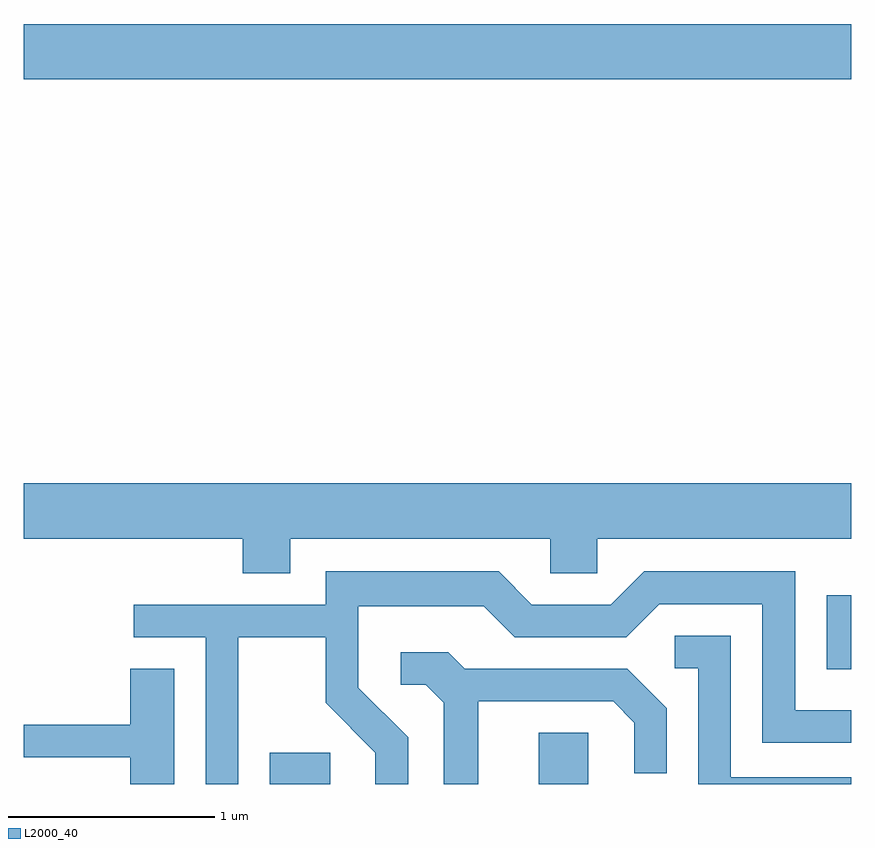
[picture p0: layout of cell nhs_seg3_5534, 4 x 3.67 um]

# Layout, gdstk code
import gdstk
lib = gdstk.Library(unit=1e-6, precision=1e-09)
def R(c, l, rs):  # rectangles x0, y0, x1, y1
    for r in rs: c.add(gdstk.rectangle(r[:2], r[2:], *l))
def P(c, l, *ps):  # polygons
    for p in ps: c.add(gdstk.Polygon(p, *l))
L2000_40 = (2000, 40)

nhs_seg3_5534 = lib.new_cell('nhs_seg3_5534')
R(nhs_seg3_5534, L2000_40, [(348.801,1175.892,349.094,1176.044), (350.101,1175.892,350.339,1176.139), (351.491,1176.446,351.611,1176.803), (347.611,1179.296,351.611,1179.564)])
P(nhs_seg3_5534, L2000_40, [(348.899,1177.076),(350.156,1177.076),(350.156,1176.911),(350.384,1176.911),(350.384,1177.076),(351.611,1177.076),(351.611,1177.344),(347.611,1177.344),(347.611,1177.076),(348.671,1177.076),(348.671,1176.911),(348.899,1176.911)],
  [(348.649,1176.601),(349.071,1176.601),(349.071,1176.284),(349.311,1176.044),(349.311,1175.892),(349.469,1175.892),(349.469,1176.117),(349.229,1176.357),(349.229,1176.751),(349.834,1176.751),(349.984,1176.601),(350.522,1176.601),(350.682,1176.761),(351.181,1176.761),(351.181,1176.091),(351.611,1176.091),(351.611,1176.249),(351.339,1176.249),(351.339,1176.919),(350.609,1176.919),(350.449,1176.759),(350.067,1176.759),(349.907,1176.919),(349.071,1176.919),(349.071,1176.759),(348.143,1176.759),(348.143,1176.601),(348.491,1176.601),(348.491,1175.892),(348.649,1175.892)],
  [(351.611,1175.924),(351.029,1175.924),(351.029,1176.609),(350.758,1176.609),(350.758,1176.451),(350.871,1176.451),(350.871,1175.892),(351.611,1175.892)],
  [(349.809,1176.291),(350.459,1176.291),(350.561,1176.189),(350.561,1175.943),(350.719,1175.943),(350.719,1176.257),(350.527,1176.449),(349.742,1176.449),(349.662,1176.529),(349.433,1176.529),(349.433,1176.371),(349.554,1176.371),(349.641,1176.284),(349.641,1175.892),(349.809,1175.892)],
  [(348.339,1176.449),(348.126,1176.449),(348.126,1176.179),(347.611,1176.179),(347.611,1176.021),(348.126,1176.021),(348.126,1175.892),(348.339,1175.892)])

lib.write_gds('nhs_seg3_5534.gds')
